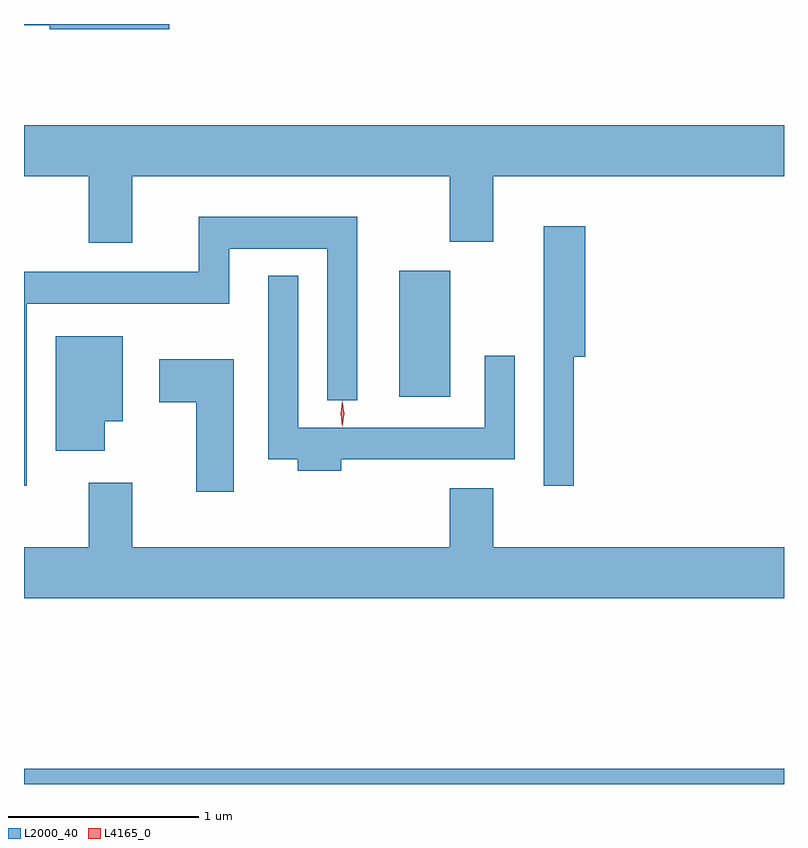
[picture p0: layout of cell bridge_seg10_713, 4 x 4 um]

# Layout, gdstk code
import gdstk
lib = gdstk.Library(unit=1e-6, precision=1e-09)
def R(c, l, rs):  # rectangles x0, y0, x1, y1
    for r in rs: c.add(gdstk.rectangle(r[:2], r[2:], *l))
def P(c, l, *ps):  # polygons
    for p in ps: c.add(gdstk.Polygon(p, *l))
L2000_40 = (2000, 40)
L4165_0 = (4165, 0)

bridge_seg10_713 = lib.new_cell('bridge_seg10_713')
R(bridge_seg10_713, L2000_40, [(1029.87,2106.278,1033.87,2106.359), (1031.846,2108.316,1032.114,2108.979)])
P(bridge_seg10_713, L2000_40, [(1030.634,2110.278),(1029.87,2110.278),(1029.87,2110.271),(1030.006,2110.271),(1030.006,2110.251),(1030.634,2110.251)],
  [(1030.439,2109.476),(1032.111,2109.476),(1032.111,2109.131),(1032.339,2109.131),(1032.339,2109.476),(1033.87,2109.476),(1033.87,2109.744),(1029.87,2109.744),(1029.87,2109.476),(1030.211,2109.476),(1030.211,2109.126),(1030.439,2109.126)],
  [(1029.884,2108.806),(1030.949,2108.806),(1030.949,2109.096),(1031.466,2109.096),(1031.466,2108.298),(1031.624,2108.298),(1031.624,2109.264),(1030.791,2109.264),(1030.791,2108.974),(1029.87,2108.974),(1029.87,2107.848),(1029.884,2107.848)],
  [(1032.764,2108.526),(1032.824,2108.526),(1032.824,2109.214),(1032.606,2109.214),(1032.606,2107.848),(1032.764,2107.848)],
  [(1031.539,2107.986),(1032.454,2107.986),(1032.454,2108.533),(1032.296,2108.533),(1032.296,2108.154),(1031.314,2108.154),(1031.314,2108.953),(1031.156,2108.953),(1031.156,2107.986),(1031.311,2107.986),(1031.311,2107.926),(1031.539,2107.926)],
  [(1030.294,2108.186),(1030.389,2108.186),(1030.389,2108.634),(1030.036,2108.634),(1030.036,2108.031),(1030.294,2108.031)],
  [(1030.974,2108.514),(1030.581,2108.514),(1030.581,2108.286),(1030.776,2108.286),(1030.776,2107.816),(1030.974,2107.816)],
  [(1033.87,2107.524),(1032.339,2107.524),(1032.339,2107.834),(1032.111,2107.834),(1032.111,2107.524),(1030.439,2107.524),(1030.439,2107.864),(1030.211,2107.864),(1030.211,2107.524),(1029.87,2107.524),(1029.87,2107.256),(1033.87,2107.256)])
P(bridge_seg10_713, L4165_0, [(1031.546,2108.157),(1031.545,2108.158),(1031.536,2108.227),(1031.545,2108.296),(1031.546,2108.296),(1031.546,2108.296),(1031.556,2108.227),(1031.546,2108.158)])

lib.write_gds('bridge_seg10_713.gds')
